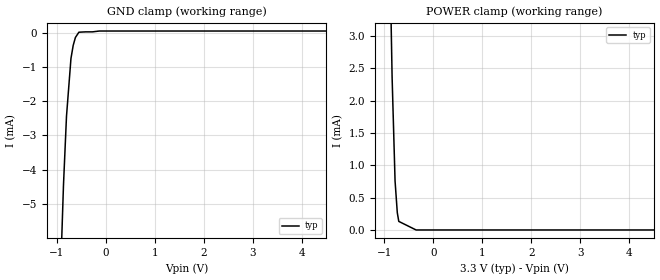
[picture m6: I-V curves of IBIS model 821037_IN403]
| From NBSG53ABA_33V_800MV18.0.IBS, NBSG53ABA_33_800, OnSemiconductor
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| COPYRIGHT(C) MENTOR GRAPHICS CORPORATION 2002 ALL
| RIGHTS RESERVED. THIS WORK CONTAINS PROPRIETARY
| INFORMATION WHICH IS THE PROPERTY OF MENTOR GRAPHICS
| CORPORATION OR ITS LICENSORS. USE OF THESE MATERIALS
| IS SUBJECT TO THE TERMS BELOW.
| USE: MENTOR GRAPHICS HAS LICENSED IBIS MODELS TO
| SPECIFIC INTEGRATED CIRCUIT SUPPLIERS ("IC VENDORS")
| FOR USE AND DISTRIBUTION AS FOLLOWS: EACH IC VENDOR
| MAY USE IBIS MODELS, AND DISTRIBUTE THEM TO IC VENDOR'S
| CUSTOMERS TO USE, SOLELY FOR DEVELOPING PRINTED
| CIRCUIT BOARD DESIGNS. NO OTHER USE OR DISTRIBUTION
| OF THESE MATERIALS IS PERMITTED.
| Model Application Version 1.89 2/18/99.
[Model] 821037_IN403
Model_type Input
Vinl = 600.0mV
Vinh = 1.400V
C_comp 500.0fF NA NA
| variable typ   min   max
[Voltage Range] 3.300V NA NA
[GND Clamp Reference] 0.000V NA NA
[POWER Clamp Reference] 3.300V NA NA
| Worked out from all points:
|   GND clamp passes 1 mA (typ) near -0.73 V on its own axis
|   POWER clamp passes 1 mA (typ) near -0.79 V on its own axis
[GND Clamp]
-3.3V     -110.3mA   NA         NA
-866.9mV  -4.434mA   NA         NA
-805.9mV  -2.441mA   NA         NA
-714.7mV  -753.4uA   NA         NA
-669.1mV  -369.4uA   NA         NA
-623.7mV  -138.4uA   NA         NA
-552.5mV  15.9uA     NA         NA
-411.8mV  26.15uA    NA         NA
-273.7mV  26.15uA    NA         NA
-135.6mV  50.44uA    NA         NA
6.6V      50.44uA    NA         NA
[POWER Clamp]
-3.3V     105.2mA    NA         NA
-844.6mV  2.365mA    NA         NA
-784.1mV  758.4uA    NA         NA
-738.4mV  266.6uA    NA         NA
-708.1mV  132.5uA    NA         NA
-354.1mV  0A         NA         NA
6.6V      0A         NA         NA
